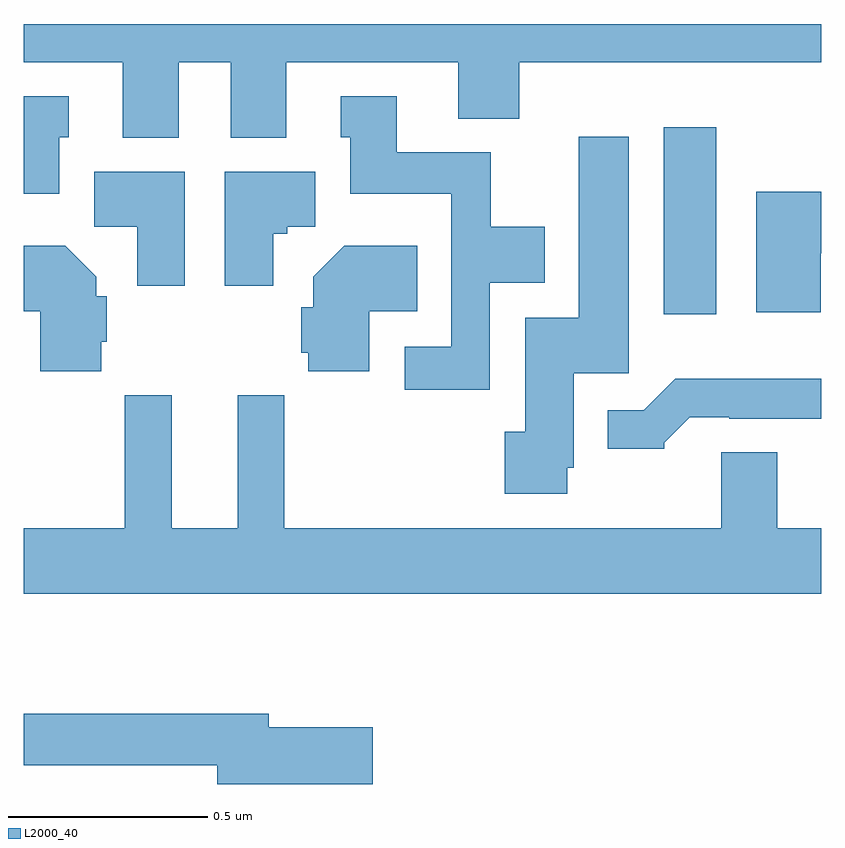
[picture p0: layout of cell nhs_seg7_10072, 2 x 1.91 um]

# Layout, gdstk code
import gdstk
lib = gdstk.Library(unit=1e-6, precision=1e-09)
def R(c, l, rs):  # rectangles x0, y0, x1, y1
    for r in rs: c.add(gdstk.rectangle(r[:2], r[2:], *l))
def P(c, l, *ps):  # polygons
    for p in ps: c.add(gdstk.Polygon(p, *l))
L2000_40 = (2000, 40)

nhs_seg7_10072 = lib.new_cell('nhs_seg7_10072')
R(nhs_seg7_10072, L2000_40, [(246.605,1045.272,246.736,1045.741)])
P(nhs_seg7_10072, L2000_40, [(245,1045.904),(245.249,1045.904),(245.249,1045.715),(245.389,1045.715),(245.389,1045.904),(245.519,1045.904),(245.519,1045.715),(245.659,1045.715),(245.659,1045.904),(246.089,1045.904),(246.089,1045.763),(246.242,1045.763),(246.242,1045.904),(247,1045.904),(247,1046),(245,1046)],
  [(246.168,1045.352),(246.307,1045.352),(246.307,1045.492),(246.171,1045.492),(246.171,1045.678),(245.935,1045.678),(245.935,1045.819),(245.795,1045.819),(245.795,1045.716),(245.819,1045.716),(245.819,1045.574),(246.072,1045.574),(246.072,1045.191),(245.955,1045.191),(245.955,1045.083),(246.168,1045.083)],
  [(245.089,1045.716),(245.113,1045.716),(245.113,1045.819),(245,1045.819),(245,1045.574),(245.089,1045.574)],
  [(246.363,1044.888),(246.379,1044.888),(246.379,1045.125),(246.517,1045.125),(246.517,1045.717),(246.392,1045.717),(246.392,1045.264),(246.257,1045.264),(246.257,1044.978),(246.206,1044.978),(246.206,1044.822),(246.363,1044.822)],
  [(245.404,1045.63),(245.177,1045.63),(245.177,1045.492),(245.285,1045.492),(245.285,1045.344),(245.404,1045.344)],
  [(245.626,1045.474),(245.661,1045.474),(245.661,1045.492),(245.731,1045.492),(245.731,1045.63),(245.504,1045.63),(245.504,1045.344),(245.626,1045.344)],
  [(246.998,1045.425),(247,1045.425),(247,1045.579),(246.836,1045.579),(246.836,1045.277),(246.998,1045.277)],
  [(245.866,1045.28),(245.987,1045.28),(245.987,1045.444),(245.804,1045.444),(245.726,1045.366),(245.726,1045.29),(245.696,1045.29),(245.696,1045.176),(245.714,1045.176),(245.714,1045.13),(245.866,1045.13)],
  [(245.195,1045.203),(245.208,1045.203),(245.208,1045.317),(245.182,1045.317),(245.182,1045.366),(245.104,1045.444),(245,1045.444),(245,1045.28),(245.042,1045.28),(245.042,1045.13),(245.195,1045.13)],
  [(246.606,1044.95),(246.67,1045.014),(246.769,1045.014),(246.769,1045.011),(247,1045.011),(247,1045.111),(246.634,1045.111),(246.555,1045.032),(246.464,1045.032),(246.464,1044.935),(246.606,1044.935)],
  [(247,1044.736),(246.889,1044.736),(246.889,1044.926),(246.749,1044.926),(246.749,1044.736),(245.654,1044.736),(245.654,1045.069),(245.537,1045.069),(245.537,1044.736),(245.371,1044.736),(245.371,1045.069),(245.254,1045.069),(245.254,1044.736),(245,1044.736),(245,1044.572),(247,1044.572)],
  [(245.875,1044.237),(245.614,1044.237),(245.614,1044.271),(245,1044.271),(245,1044.142),(245.486,1044.142),(245.486,1044.095),(245.875,1044.095)])

lib.write_gds('nhs_seg7_10072.gds')
